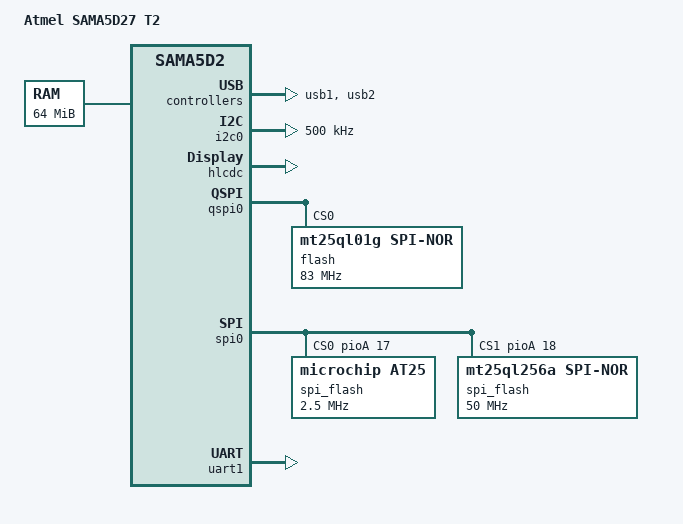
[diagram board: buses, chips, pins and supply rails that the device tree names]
/dts-v1/;
#include "sama5d27_som1.dtsi"
#include "sama5d2-pinfunc.h"

/ {
	model = "Atmel SAMA5D27 T2";
	compatible = "atmel,sama5d27-t2", "atmel,sama5d2", "atmel,sama5";
  
	memory {
		reg = <0x20000000 0x4000000>;
	};  
  
	aliases {
		spi0 = &spi0;
    spi1 = &qspi0;
	};

	chosen {
		u-boot,dm-pre-reloc;
		stdout-path = &uart1;
	};

	ahb {

		usb1: ohci@00400000 {
			num-ports = <3>;
			atmel,vbus-gpio = <&pioA 42 1>;
			pinctrl-names = "default";
			pinctrl-0 = <&pinctrl_usb_default>;
			status = "okay";
		};    

		usb2: ehci@00500000 {
			status = "okay";
		};

		apb {
			i2c0: i2c@f8028000 {
				pinctrl-names = "default";
				pinctrl-0 = <&pinctrl_i2c0_default>;
				status = "okay";
        
        clock-frequency = <500000>;
			};

			hlcdc: hlcdc@f0000000 {
				atmel,vl-bpix = <4>;
				atmel,guard-time = <1>;
				pinctrl-names = "default";
				pinctrl-0 = <&pinctrl_lcd_base &pinctrl_lcd_pwm &pinctrl_lcd_rgb8888>;
				status = "okay";
				u-boot,dm-pre-reloc;

				display-timings {
					u-boot,dm-pre-reloc;
					800x480 {
						clock-frequency = <33300000>;
						hactive = <800>;
						vactive = <480>;
						hsync-len = <20>;
						hfront-porch = <210>;
						hback-porch = <46>;
						vfront-porch = <22>;
						vback-porch = <23>;
						vsync-len = <10>;
						u-boot,dm-pre-reloc;
					};
				};
			};
      

			qspi0: spi@f0020000 {
				pinctrl-names = "default";
				pinctrl-0 = <&pinctrl_qspi0_sck_cs_default &pinctrl_qspi0_dat_default>;
				status = "okay";
				u-boot,dm-pre-reloc;

				flash@0 {
					compatible = "mt25ql01g,spi-nor";
					reg = <0>;
					spi-max-frequency = <83000000>;
					spi-rx-bus-width = <4>;
					spi-tx-bus-width = <4>;
					u-boot,dm-pre-reloc;
				};
			};

			spi0: spi@f8000000 {
				cs-gpios = <&pioA 17 0>, <&pioA 18 0>, <0>, <0>;
				pinctrl-names = "default";
				pinctrl-0 = <&pinctrl_spi0_default>;
				status = "okay";
				u-boot,dm-pre-reloc;
        
        spi_flash@0 {
					compatible = "microchip, at25";
					reg = <0>;
					spi-max-frequency = <2500000>;
          pagesize = <64>;
          size = <131072>;
					u-boot,dm-pre-reloc;
        };         

				spi_flash@1 {
					compatible = "mt25ql256a,spi-nor";
					reg = <1>;
					spi-max-frequency = <50000000>;
					u-boot,dm-pre-reloc;
				};
			};
 
			uart1: serial@f8020000 {
				pinctrl-names = "default";
				pinctrl-0 = <&pinctrl_uart1_default>;
				status = "okay";
				u-boot,dm-pre-reloc;
			};

			pioA: gpio@fc038000 {
				pinctrl {
					pinctrl_i2c0_default: i2c0_default {
						pinmux = <PIN_PD29__TWD0>,
							 <PIN_PD30__TWCK0>;
						bias-disable;
					};

					pinctrl_i2c1_default: i2c1_default {
						pinmux = <PIN_PD4__TWD1>,
							 <PIN_PD5__TWCK1>;
						bias-disable;
					};
          
					pinctrl_lcd_base: pinctrl_lcd_base {
						pinmux = <PIN_PC5__LCDVSYNC>,
							 <PIN_PC6__LCDHSYNC>,
							 <PIN_PC8__LCDDEN>,
							 <PIN_PC7__LCDPCK>;
						bias-disable;
					};

					pinctrl_lcd_pwm: pinctrl_lcd_pwm {
						pinmux = <PIN_PC3__LCDPWM>;
						bias-disable;
					};

					pinctrl_lcd_rgb8888: pinctrl_lcd_rgb8888 {
						pinmux = <PIN_PB11__LCDDAT0>,
							 <PIN_PB12__LCDDAT1>,
							 <PIN_PB13__LCDDAT2>,
							 <PIN_PB14__LCDDAT3>,
							 <PIN_PB15__LCDDAT4>,
							 <PIN_PB16__LCDDAT5>,
							 <PIN_PB17__LCDDAT6>,
							 <PIN_PB18__LCDDAT7>,
							 <PIN_PB21__LCDDAT10>,
							 <PIN_PB22__LCDDAT11>,
							 <PIN_PB23__LCDDAT12>,
							 <PIN_PB24__LCDDAT13>,
							 <PIN_PB25__LCDDAT14>,
							 <PIN_PB26__LCDDAT15>,
							 <PIN_PB29__LCDDAT18>,
							 <PIN_PB30__LCDDAT19>,
							 <PIN_PB31__LCDDAT20>,
							 <PIN_PC0__LCDDAT21>,
							 <PIN_PC1__LCDDAT22>,
							 <PIN_PC2__LCDDAT23>;
						bias-disable;
					};

					pinctrl_uart1_default: uart1_default {
						pinmux = <PIN_PD2__URXD1>,
							 <PIN_PD3__UTXD1>;
						bias-disable;
						u-boot,dm-pre-reloc;
					};

					pinctrl_usb_default: usb_default {
						pinmux = <PIN_PC18__GPIO>;
						bias-disable;
					};

					pinctrl_usba_vbus: usba_vbus {
						pinmux = <PIN_PA29__GPIO>;
						bias-disable;
					};
       
          pinctrl_qspi0_sck_cs_default: qspi0_sck_cs_default {
            pinmux = <PIN_PA0__QSPI0_SCK>,
              <PIN_PA1__QSPI0_CS>;
            bias-disable;
            u-boot,dm-pre-reloc;
          };

					pinctrl_qspi0_dat_default: qspi0_dat_default {
            pinmux = <PIN_PA5__QSPI0_IO3>,
              <PIN_PA4__QSPI0_IO2>,
              <PIN_PA3__QSPI0_IO1>,
              <PIN_PA2__QSPI0_IO0>;
            bias-pull-up;
            u-boot,dm-pre-reloc;
          };

          pinctrl_spi0_default: spi0_default {
            pinmux = <PIN_PA14__SPI0_SPCK>,
              <PIN_PA15__SPI0_MOSI>,
              <PIN_PA16__SPI0_MISO>,
              <PIN_PA17__SPI0_NPCS0>,
              <PIN_PA18__SPI0_NPCS1>;
            bias-pull-up;
            u-boot,dm-pre-reloc;
          };
				};
			};
		};
	};
};
